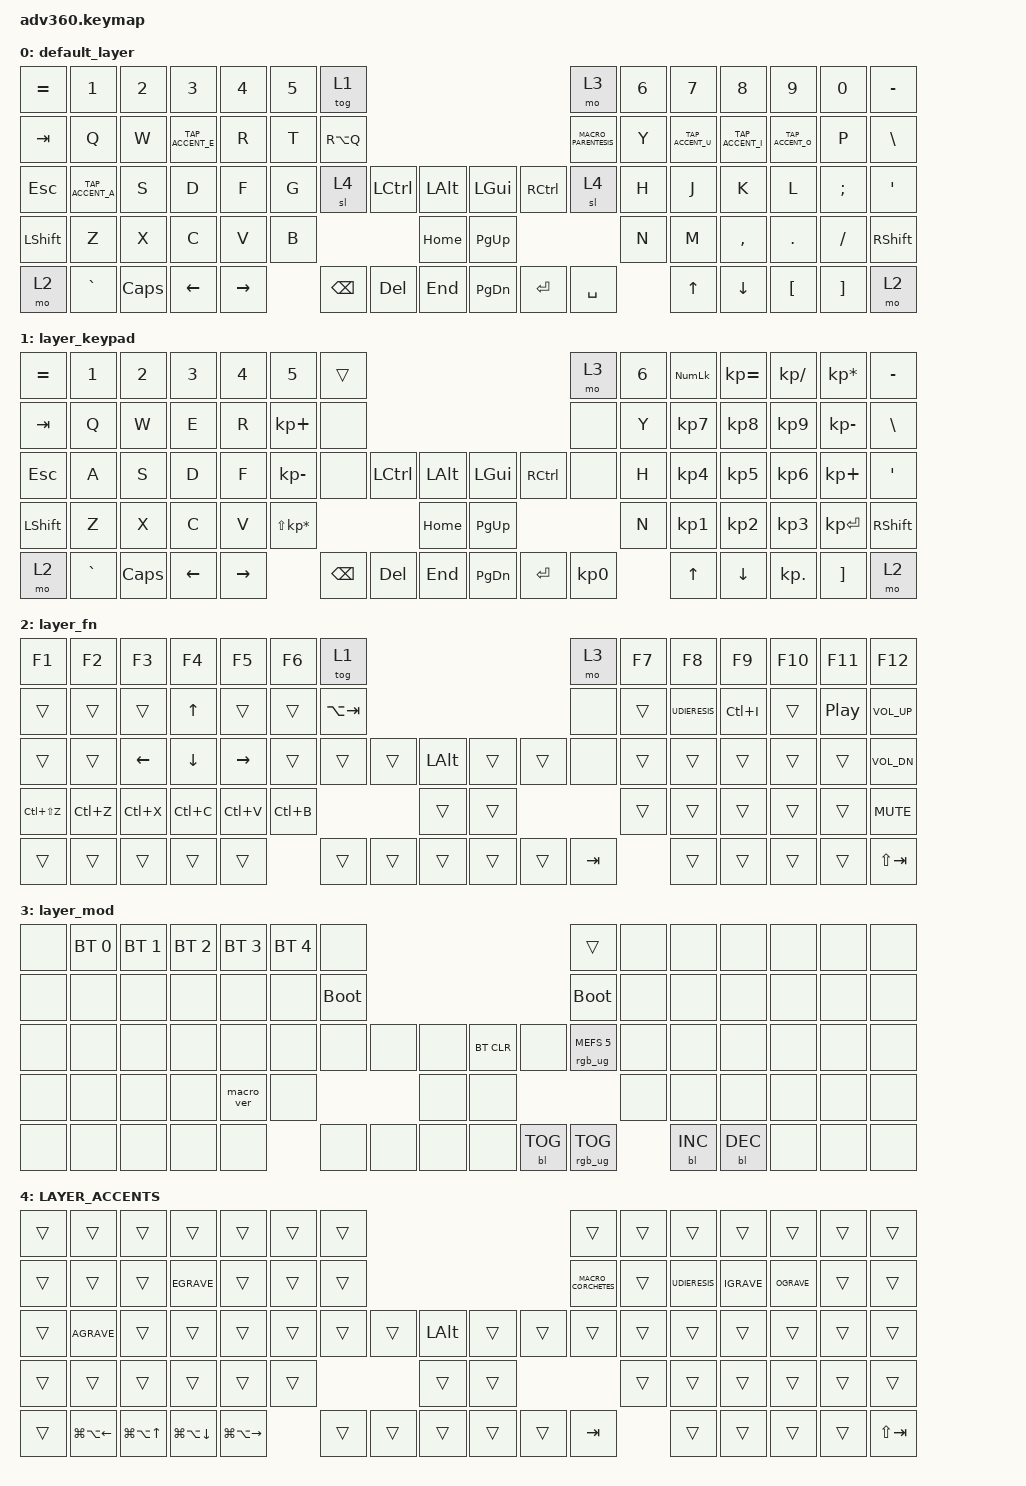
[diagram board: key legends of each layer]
/*
 * Copyright (c) 2020 The ZMK Contributors
 *
 * SPDX-License-Identifier: MIT
 */
/* THIS FILE WAS GENERATED!
 *
 * This file was generated automatically. You may or may not want to
 * edit it directly.
 */

#include <behaviors.dtsi>
#include <dt-bindings/zmk/backlight.h>
#include <dt-bindings/zmk/bt.h>
#include <dt-bindings/zmk/keys.h>
#include <dt-bindings/zmk/rgb.h>

/ {
    behaviors {
        #include "macros.dtsi"
    #include "version.dtsi"

        hm: homerow_mods {
            compatible = "zmk,behavior-hold-tap";
            label = "HOMEROW_MODS";
            #binding-cells = <2>;
            tapping-term-ms = <200>;
            quick_tap_ms = <175>;
            flavor = "tap-preferred";
            bindings = <&kp>, <&kp>;
        };

        TAP_ACCENT_A: TAP_ACCENT_A {
            compatible = "zmk,behavior-tap-dance";
            label = "TAP_ACCENT_A";
            #binding-cells = <0>;
            bindings = <&kp A>, <&AGRAVE>;
        };

        TAP_ACCENT_E: TAP_ACCENT_E {
            compatible = "zmk,behavior-tap-dance";
            label = "TAP_ACCENT_E";
            #binding-cells = <0>;
            bindings = <&kp E>, <&EGRAVE>;
        };

        TAP_ACCENT_U: TAP_ACCENT_U {
            compatible = "zmk,behavior-tap-dance";
            label = "TAP_ACCENT_U";
            #binding-cells = <0>;
            bindings = <&kp U>, <&UGRAVE>;
        };

        TAP_ACCENT_I: TAP_ACCENT_I {
            compatible = "zmk,behavior-tap-dance";
            label = "TAP_ACCENT_I";
            #binding-cells = <0>;
            bindings = <&kp I>, <&IGRAVE>;
        };

        TAP_ACCENT_O: TAP_ACCENT_O {
            compatible = "zmk,behavior-tap-dance";
            label = "TAP_ACCENT_O";
            #binding-cells = <0>;
            bindings = <&kp O>, <&OGRAVE>;
        };
    };

    macros {
        AGRAVE: AGRAVE {
            compatible = "zmk,behavior-macro";
            #binding-cells = <0>;
            bindings = <&kp LEFT_BRACKET &kp A>;
            label = "AGRAVE";
            tap-ms = <100>;
        };

        EGRAVE: EGRAVE {
            compatible = "zmk,behavior-macro";
            #binding-cells = <0>;
            bindings = <&kp LEFT_BRACKET &kp E>;
            label = "EGRAVE";
            tap-ms = <100>;
        };

        UGRAVE: UGRAVE {
            compatible = "zmk,behavior-macro";
            #binding-cells = <0>;
            bindings = <&kp LEFT_BRACKET &kp U>;
            label = "UGRAVE";
            tap-ms = <100>;
        };

        IGRAVE: IGRAVE {
            compatible = "zmk,behavior-macro";
            #binding-cells = <0>;
            bindings = <&kp LEFT_BRACKET &kp I>;
            label = "IGRAVE";
            tap-ms = <100>;
        };

        OGRAVE: OGRAVE {
            compatible = "zmk,behavior-macro";
            #binding-cells = <0>;
            bindings = <&kp LEFT_BRACKET &kp O>;
            label = "OGRAVE";
            tap-ms = <100>;
        };

        MACRO_PARENTESIS: MACRO_PARENTESIS {
            compatible = "zmk,behavior-macro";
            #binding-cells = <0>;
            bindings = <&kp LS(N8) &kp LS(N9) &kp LEFT_ARROW>;
            label = "MACRO_PARENTESIS";
        };

        MACRO_CORCHETES: MACRO_CORCHETES {
            compatible = "zmk,behavior-macro";
            #binding-cells = <0>;
            bindings = <&kp LS(LEFT_BRACE) &kp LS(RIGHT_BRACKET) &kp LEFT_ARROW>;
            label = "MACRO_CORCHETES";
        };

        GRACIAS: GRACIAS {
            compatible = "zmk,behavior-macro";
            #binding-cells = <0>;
            bindings = <&kp LS(G) &kp R &kp A &kp C &kp I &kp A &kp S &kp EXCL>;
            label = "GRACIAS";
        };

        UDIERESIS: UDIERESIS {
            compatible = "zmk,behavior-macro";
            #binding-cells = <0>;
            bindings = <&kp LS(LEFT_BRACKET) &kp U>;
            label = "UDIERESIS";
            tap-ms = <100>;
        };

        OBRIGADO: OBRIGADO {
            compatible = "zmk,behavior-macro";
            #binding-cells = <0>;
            bindings = <&kp LS(O) &kp B &kp R &kp I &kp G &kp A &kp D &kp O &kp EXCL>;
            label = "OBRIGADO";
        };
    };

    combos {
        compatible = "zmk,combos";

        LANG_SWITCH {
            bindings = <&kp LG(SPACE)>;
            key-positions = <70 75 60 65>;
            layers = <0 4>;
        };

        SOFT_OFF {
            bindings = <&GRACIAS>;
            key-positions = <0 13 65 70>;
        };

        OBRIGADO {
            bindings = <&OBRIGADO>;
            key-positions = <14 27 65 70>;
        };

        CAPSCOMBO {
            bindings = <&kp LC(C)>;
            key-positions = <46 65>;
        };

        CAPSCOMBO2 {
            bindings = <&kp LC(V)>;
            key-positions = <70 59>;
        };
    };

    keymap {
        compatible = "zmk,keymap";

        default_layer {
            bindings = <
&kp EQUAL       &kp N1         &kp N2    &kp N3         &kp N4     &kp N5  &tog 1                                                    &mo 3              &kp N6  &kp N7         &kp N8         &kp N9         &kp N0    &kp MINUS
&kp TAB         &kp Q          &kp W     &TAP_ACCENT_E  &kp R      &kp T   &kp RA(Q)                                                 &MACRO_PARENTESIS  &kp Y   &TAP_ACCENT_U  &TAP_ACCENT_I  &TAP_ACCENT_O  &kp P     &kp BSLH
&kp ESC         &TAP_ACCENT_A  &kp S     &kp D          &kp F      &kp G   &sl 4      &kp LCTRL  &kp LALT      &kp LGUI   &kp RCTRL  &sl 4              &kp H   &kp J          &kp K          &kp L          &kp SEMI  &kp SQT
&kp LEFT_SHIFT  &kp Z          &kp X     &kp C          &kp V      &kp B                         &kp HOME      &kp PG_UP                                &kp N   &kp M          &kp COMMA      &kp DOT        &kp FSLH  &kp RIGHT_SHIFT
&mo 2           &kp GRAVE      &kp CAPS  &kp LEFT       &kp RIGHT          &kp BSPC   &kp DEL    &kp END       &kp PG_DN  &kp ENTER  &kp SPACE                  &kp UP         &kp DOWN       &kp LBKT       &kp RBKT  &mo 2
            >;
        };

        layer_keypad {
            bindings = <
&kp EQUAL  &kp N1     &kp N2    &kp N3    &kp N4     &kp N5               &trans                                                   &mo 3      &kp N6  &kp KP_NUM  &kp KP_EQUAL  &kp KP_DIVIDE  &kp KP_MULTIPLY  &kp MINUS
&kp TAB    &kp Q      &kp W     &kp E     &kp R      &kp KP_PLUS          &none                                                    &none      &kp Y   &kp KP_N7   &kp KP_N8     &kp KP_N9      &kp KP_MINUS     &kp BSLH
&kp ESC    &kp A      &kp S     &kp D     &kp F      &kp KP_SUBTRACT      &none     &kp LCTRL  &kp LALT      &kp LGUI   &kp RCTRL  &none      &kp H   &kp KP_N4   &kp KP_N5     &kp KP_N6      &kp KP_PLUS      &kp SQT
&kp LSHFT  &kp Z      &kp X     &kp C     &kp V      &kp LS(KP_MULTIPLY)                       &kp HOME      &kp PG_UP                        &kp N   &kp KP_N1   &kp KP_N2     &kp KP_N3      &kp KP_ENTER     &kp RSHFT
&mo 2      &kp GRAVE  &kp CAPS  &kp LEFT  &kp RIGHT                       &kp BSPC  &kp DEL    &kp END       &kp PG_DN  &kp ENTER  &kp KP_N0          &kp UP      &kp DOWN      &kp KP_DOT     &kp RBKT         &mo 2
            >;
        };

        layer_fn {
            bindings = <
&kp F1         &kp F2     &kp F3     &kp F4     &kp F5     &kp F6     &tog 1                                                 &mo 3    &kp F7  &kp F8      &kp F9     &kp F10  &kp F11           &kp F12
&trans         &trans     &trans     &kp UP     &trans     &trans     &kp LA(TAB)                                            &none    &trans  &UDIERESIS  &kp LC(I)  &trans   &kp C_PLAY_PAUSE  &kp C_VOLUME_UP
&trans         &trans     &kp LEFT   &kp DOWN   &kp RIGHT  &trans     &trans       &trans  &kp LEFT_ALT      &trans  &trans  &none    &trans  &trans      &trans     &trans   &trans            &kp C_VOL_DN
&kp LC(LS(Z))  &kp LC(Z)  &kp LC(X)  &kp LC(C)  &kp LC(V)  &kp LC(B)                       &trans            &trans                   &trans  &trans      &trans     &trans   &trans            &kp K_MUTE
&trans         &trans     &trans     &trans     &trans                &trans       &trans  &trans            &trans  &trans  &kp TAB          &trans      &trans     &trans   &trans            &kp LS(TAB)
            >;
        };

        layer_mod {
            bindings = <
&none  &bt BT_SEL 0  &bt BT_SEL 1  &bt BT_SEL 2  &bt BT_SEL 3  &bt BT_SEL 4  &none                                                  &trans                  &none  &none       &none       &none  &none  &none
&none  &none         &none         &none         &none         &none         &bootloader                                            &bootloader             &none  &none       &none       &none  &none  &none
&none  &none         &none         &none         &none         &none         &none        &none  &none      &bt BT_CLR  &none       &rgb_ug RGB_MEFS_CMD 5  &none  &none       &none       &none  &none  &none
&none  &none         &none         &none         &macro_ver    &none                             &none      &none                                           &none  &none       &none       &none  &none  &none
&none  &none         &none         &none         &none                       &none        &none  &none      &none       &bl BL_TOG  &rgb_ug RGB_TOG                &bl BL_INC  &bl BL_DEC  &none  &none  &none
            >;
        };

        LAYER_ACCENTS {
            bindings = <
&trans  &trans                  &trans          &trans            &trans             &trans  &trans                                            &trans            &trans  &trans      &trans   &trans   &trans  &trans
&trans  &trans                  &trans          &EGRAVE           &trans             &trans  &trans                                            &MACRO_CORCHETES  &trans  &UDIERESIS  &IGRAVE  &OGRAVE  &trans  &trans
&trans  &AGRAVE                 &trans          &trans            &trans             &trans  &trans  &trans  &kp LEFT_ALT      &trans  &trans  &trans            &trans  &trans      &trans   &trans   &trans  &trans
&trans  &trans                  &trans          &trans            &trans             &trans                  &trans            &trans                            &trans  &trans      &trans   &trans   &trans  &trans
&trans  &kp LG(LA(LEFT_ARROW))  &kp LG(LA(UP))  &kp LG(LA(DOWN))  &kp LG(LA(RIGHT))          &trans  &trans  &trans            &trans  &trans  &kp TAB                   &trans      &trans   &trans   &trans  &kp LS(TAB)
            >;
        };
    };
};
